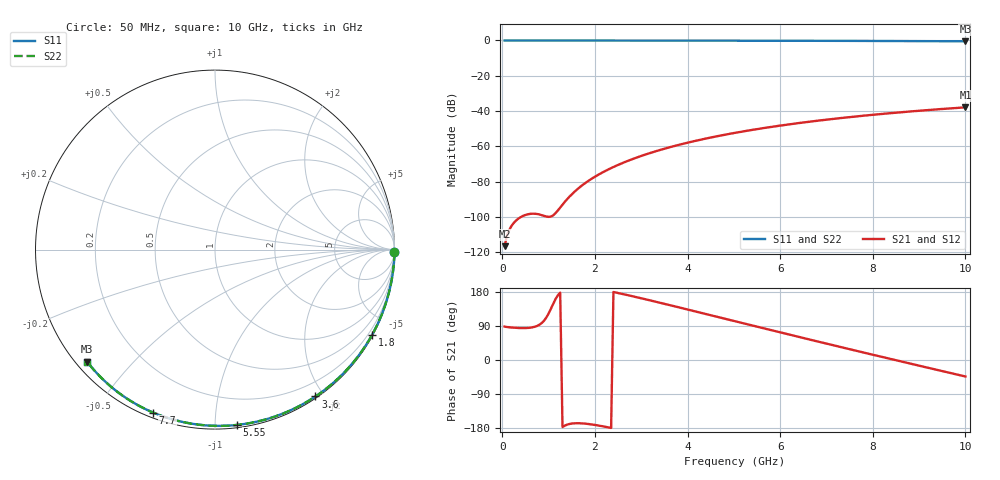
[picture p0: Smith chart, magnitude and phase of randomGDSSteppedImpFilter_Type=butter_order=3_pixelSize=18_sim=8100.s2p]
! freq	dB(S11)	phase(S11)	dB(S12)	phase(S12)
!  dB(S21)	phase(S21)	dB(S22)	phase(S22)
!S-par simulation data
#  GHz  S  DB  R 50
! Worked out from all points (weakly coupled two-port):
!   200 points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, 50 MHz to 10 GHz, reference 50 ohm
!   highest |S21| = -37.87 dB at 10 GHz (marker M1); lowest = -116.5 dB at 50 MHz (marker M2)
!   lowest |S11| = -0.5 dB at 10 GHz (marker M3), VSWR 36.99, Z = 1.54 - j18.8 ohm
!   |S11| at or under -10 dB: nowhere
!   |S22| runs from -0.5 to 0.0 dB; largest |S21 - S12| = 0
!   S11 on the Smith chart (normalised r, x): 50 MHz: open; 1.8 GHz: 0.03, -3.94; 3.6 GHz: 0.02, -1.90; 5.55 GHz: 0.02, -1.13; 7.7 GHz: 0.02, -0.69; 10 GHz: 0.03, -0.38
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0.05  -0.00 -0.8  -116.47 88.3  -116.47 88.3  -0.00 -0.8
0.45  -0.01 -7.2  -99.31 84.2  -99.31 84.2  -0.01 -7.2
0.9  -0.02 -14.4  -99.29 103.5  -99.29 103.5  -0.02 -14.4
1.75  -0.04 -27.7  -81.52 -167.5  -81.52 -167.5  -0.04 -27.7
1.8  -0.04 -28.5  -80.56 -168.1  -80.56 -168.1  -0.04 -28.5
1.85  -0.04 -29.2  -79.66 -168.7  -79.66 -168.7  -0.04 -29.2
2.05  -0.04 -32.3  -76.37 -172.3  -76.37 -172.3  -0.04 -32.3
2.25  -0.05 -35.4  -73.54 -176.8  -73.54 -176.8  -0.05 -35.4
2.55  -0.05 -40.0  -69.89 175.5  -69.89 175.5  -0.05 -40.0
2.95  -0.06 -46.0  -65.84 164.4  -65.84 164.4  -0.06 -46.0
3.4  -0.07 -52.7  -62.05 151.2  -62.05 151.2  -0.07 -52.7
3.6  -0.07 -55.6  -60.56 145.3  -60.56 145.3  -0.07 -55.6
3.9  -0.08 -60.0  -58.52 136.3  -58.52 136.3  -0.08 -60.0
4.3  -0.09 -65.7  -56.08 124.3  -56.08 124.3  -0.09 -65.7
5.05  -0.12 -76.2  -52.19 101.6  -52.19 101.6  -0.12 -76.2
5.55  -0.14 -83.0  -49.99 86.5  -49.99 86.5  -0.14 -83.0
6.1  -0.16 -90.3  -47.84 70.0  -47.84 70.0  -0.16 -90.3
6.7  -0.19 -98.1  -45.78 52.1  -45.78 52.1  -0.19 -98.1
7.7  -0.25 -110.7  -42.86 22.6  -42.86 22.6  -0.25 -110.7
8.35  -0.30 -118.8  -41.24 3.8  -41.24 3.8  -0.30 -118.8
9.2  -0.38 -129.1  -39.38 -20.7  -39.38 -20.7  -0.38 -129.1
10  -0.47 -138.8  -37.87 -43.6  -37.87 -43.6  -0.47 -138.8
